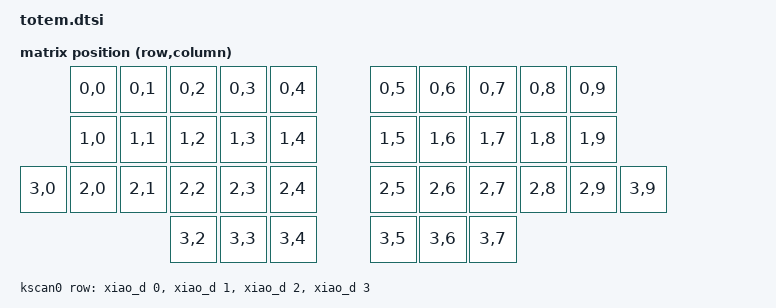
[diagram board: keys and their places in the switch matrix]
/*
 * Copyright (c) 2022 The ZMK Contributors
 *
 * SPDX-License-Identifier: MIT
 */

#include <dt-bindings/zmk/matrix_transform.h>
#include <physical_layouts.dtsi>

/ {
    chosen {
        zmk,physical_layout = &default_layout;
        zmk,studio-rpc-uart = &uart1;
        /* zephyr,display = &oled; */

    };

    default_transform: default_transform {
        compatible = "zmk,matrix-transform";
        columns = <10>;
        rows = <4>;
//             | SW01  | SW02  | SW03  | SW04  | SW05  |  | SW05  | SW04  | SW03  | SW02  | SW01  |
//             | SW06  | SW07  | SW08  | SW09  | SW10  |  | SW10  | SW09  | SW08  | SW07  | SW06  | 
//      | SW16 | SW11  | SW12  | SW13  | SW14  | SW15  |  | SW15  | SW14  | SW13  | SW12  | SW11  | SW16  |
//                             | SW17  | SW18  | SW19  |  | SW19  | SW18  | SW17  | 
        map = <
                RC(0,0) RC(0,1) RC(0,2) RC(0,3) RC(0,4)    RC(0,5) RC(0,6) RC(0,7) RC(0,8) RC(0,9)
                RC(1,0) RC(1,1) RC(1,2) RC(1,3) RC(1,4)    RC(1,5) RC(1,6) RC(1,7) RC(1,8) RC(1,9)
        RC(3,0) RC(2,0) RC(2,1) RC(2,2) RC(2,3) RC(2,4)    RC(2,5) RC(2,6) RC(2,7) RC(2,8) RC(2,9) RC(3,9)
                                RC(3,2) RC(3,3) RC(3,4)    RC(3,5) RC(3,6) RC(3,7)         
        >;
    };


    kscan0: kscan {
        compatible = "zmk,kscan-gpio-matrix";
        
        diode-direction = "col2row"; 
        row-gpios
            = <&xiao_d 0 (GPIO_ACTIVE_HIGH | GPIO_PULL_DOWN)>
            , <&xiao_d 1 (GPIO_ACTIVE_HIGH | GPIO_PULL_DOWN)>
            , <&xiao_d 2 (GPIO_ACTIVE_HIGH | GPIO_PULL_DOWN)>
            , <&xiao_d 3 (GPIO_ACTIVE_HIGH | GPIO_PULL_DOWN)>
            ;
    };

    default_layout: default_layout {
		compatible = "zmk,physical-layout";
		display-name = "Default";
		
		transform = <&default_transform>;
		kscan = <&kscan0>;
		
		keys
			= <&key_physical_attrs 100 100 100  0 0 0 0>
			, <&key_physical_attrs 100 100 200  0 0 0 0>
			, <&key_physical_attrs 100 100 300  0 0 0 0>
			, <&key_physical_attrs 100 100 400  0 0 0 0>
			, <&key_physical_attrs 100 100 500  0 0 0 0>
			, <&key_physical_attrs 100 100 700  0 0 0 0>
			, <&key_physical_attrs 100 100 800  0 0 0 0>
			, <&key_physical_attrs 100 100 900  0 0 0 0>
			, <&key_physical_attrs 100 100 1000  0 0 0 0>
			, <&key_physical_attrs 100 100 1100 0 0 0 0>

			, <&key_physical_attrs 100 100 100  100 0 0 0>
			, <&key_physical_attrs 100 100 200  100 0 0 0>
			, <&key_physical_attrs 100 100 300  100 0 0 0>
			, <&key_physical_attrs 100 100 400  100 0 0 0>
			, <&key_physical_attrs 100 100 500  100 0 0 0>
			, <&key_physical_attrs 100 100 700  100 0 0 0>
			, <&key_physical_attrs 100 100 800  100 0 0 0>
			, <&key_physical_attrs 100 100 900  100 0 0 0>
			, <&key_physical_attrs 100 100 1000 100 0 0 0>
			, <&key_physical_attrs 100 100 1100 100 0 0 0>

			, <&key_physical_attrs 100 100 000  200 0 0 0>
			, <&key_physical_attrs 100 100 100  200 0 0 0>
			, <&key_physical_attrs 100 100 200  200 0 0 0>
			, <&key_physical_attrs 100 100 300  200 0 0 0>
			, <&key_physical_attrs 100 100 400  200 0 0 0>
			, <&key_physical_attrs 100 100 500  200 0 0 0>            
			, <&key_physical_attrs 100 100 700  200 0 0 0>
			, <&key_physical_attrs 100 100 800  200 0 0 0>
			, <&key_physical_attrs 100 100 900  200 0 0 0>
			, <&key_physical_attrs 100 100 1000 200 0 0 0>
            , <&key_physical_attrs 100 100 1100 200 0 0 0>
            , <&key_physical_attrs 100 100 1200 200 0 0 0>

			, <&key_physical_attrs 100 100 300  300 0 0 0>
			, <&key_physical_attrs 100 100 400  300 0 0 0>
			, <&key_physical_attrs 100 100 500  300 0 0 0>
			, <&key_physical_attrs 100 100 700  300 0 0 0>
			, <&key_physical_attrs 100 100 800  300 0 0 0>            
			, <&key_physical_attrs 100 100 900  300 0 0 0>
			;
	};
};    

/* &xiao_i2c { */
/*         status = "okay"; */
/**/
/*         oled: sh1106@3c { */
/*             compatible = "sinowealth,sh1106"; */
/*             reg = <0x3c>; */
/*             width = <129>; */
/*             height = <64>; */
/*             segment-offset = <1>; */
/*             page-offset = <0>; */
/*             display-offset = <0>; */
/*             multiplex-ratio = <63>; */
/*             segment-remap; */
/*             com-invdir; */
/*             inversion-on; */
/*             prechargep = <0x22>; */
/*         }; */
/*     }; */
